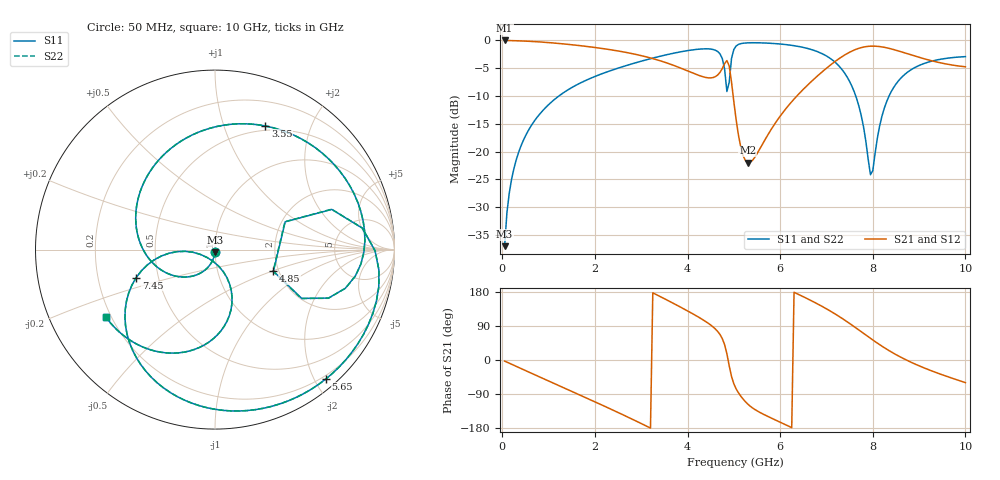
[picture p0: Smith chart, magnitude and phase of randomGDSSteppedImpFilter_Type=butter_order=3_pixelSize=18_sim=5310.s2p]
! freq	dB(S11)	phase(S11)	dB(S12)	phase(S12)
!  dB(S21)	phase(S21)	dB(S22)	phase(S22)
!S-par simulation data
#  GHz  S  DB  R 50
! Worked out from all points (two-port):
!   200 points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, 50 MHz to 10 GHz, reference 50 ohm
!   highest |S21| = 0.00 dB at 50 MHz (marker M1); lowest = -22.0 dB at 5.3 GHz (marker M2)
!   |S21| within 3 dB of the highest: start of sweep to 3.132 GHz; 7.321 GHz to 8.985 GHz (1.665 GHz wide, 20.4 % of centre)
!   lowest |S11| = -37.0 dB at 50 MHz (marker M3), VSWR 1.03, Z = 49.9 - j1.41 ohm
!   |S11| at or under -10 dB: start of sweep to 1.222 GHz; 7.632 GHz to 8.352 GHz (719.6 MHz wide, 9 % of centre)
!   |S22| runs from -37.0 to -0.4 dB; largest |S21 - S12| = 0
!   S11 on the Smith chart (normalised r, x): 50 MHz: 1.00, -0.03; 3.55 GHz: 0.45, +1.39; 4.85 GHz: 1.87, -0.51; 5.65 GHz: 0.15, -2.17; 7.45 GHz: 0.37, -0.15; 10 GHz: 0.18, -0.27
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0.05  -37.02 -92.6  -0.00 -2.8  -0.00 -2.8  -37.02 -92.6
0.2  -25.01 -101.4  -0.03 -11.2  -0.03 -11.2  -25.01 -101.4
0.5  -17.19 -118.4  -0.12 -27.9  -0.12 -27.9  -17.18 -118.4
1.15  -10.46 -154.2  -0.49 -63.7  -0.49 -63.7  -10.46 -154.3
1.75  -7.40 172.6  -1.01 -96.6  -1.01 -96.6  -7.40 172.6
2.65  -4.59 122.0  -2.12 -147.1  -2.12 -147.1  -4.59 122.0
3.4  -2.86 77.1  -3.64 168.1  -3.64 168.1  -2.86 77.1
3.55  -2.57 67.8  -4.04 158.7  -4.04 158.7  -2.57 67.7
4.5  -1.55 3.2  -6.74 92.3  -6.74 92.3  -1.55 3.1
4.75  -3.25 -23.1  -5.06 56.6  -5.06 56.6  -3.26 -23.2
4.85  -9.19 -20.3  -3.62 16.4  -3.62 16.4  -9.23 -20.4
4.95  -3.25 19.0  -7.50 -43.5  -7.50 -43.5  -3.25 19.1
5.05  -0.99 -0.4  -14.30 -76.3  -14.30 -76.3  -0.99 -0.4
5.3  -0.44 -26.0  -22.00 -116.2  -22.00 -116.2  -0.43 -25.9
5.65  -0.45 -49.4  -18.20 -143.9  -18.20 -143.9  -0.45 -49.4
6.7  -1.70 -110.4  -7.19 154.8  -7.19 154.8  -1.70 -110.4
7.45  -6.63 -160.4  -2.34 100.6  -2.34 100.6  -6.63 -160.4
7.75  -13.48 -176.9  -1.29 74.7  -1.29 74.7  -13.47 -176.9
7.95  -24.16 -134.4  -1.03 57.1  -1.03 57.1  -24.14 -134.3
8.35  -10.03 -72.6  -1.42 24.9  -1.42 24.9  -10.03 -72.6
9.05  -4.33 -108.9  -3.16 -17.9  -3.16 -17.9  -4.33 -108.9
10  -2.91 -148.6  -4.74 -59.7  -4.74 -59.7  -2.91 -148.5
